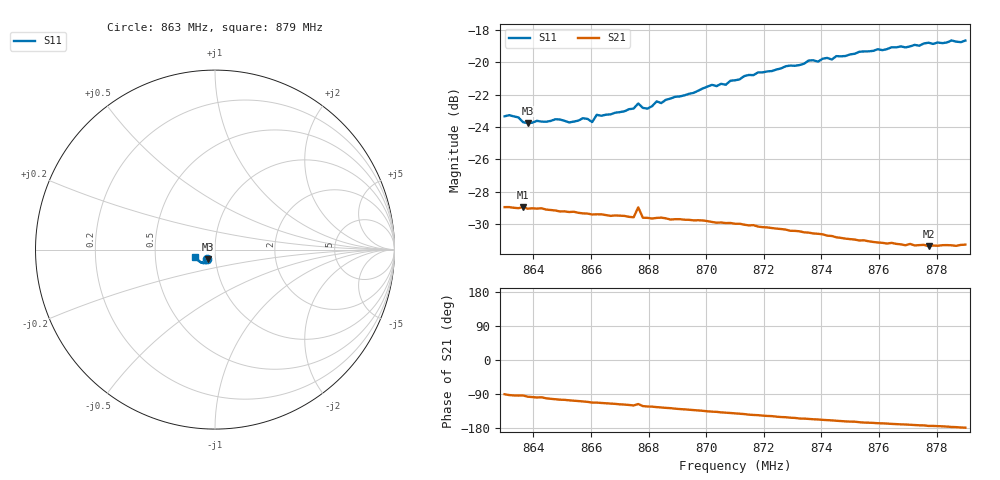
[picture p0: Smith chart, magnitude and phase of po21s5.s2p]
# HZ S RI R 50
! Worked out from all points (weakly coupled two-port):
!   101 points, 863 MHz to 879 MHz, reference 50 ohm
!   highest |S21| = -28.95 dB at 863.64 MHz (marker M1); lowest = -31.4 dB at 877.72 MHz (marker M2)
!   lowest |S11| = -23.8 dB at 863.8 MHz (marker M3), VSWR 1.14, Z = 46.2 - j4.95 ohm
!   |S11| at or under -10 dB: start of sweep to end of sweep
!   S12 and S22 are empty: the file has one direction only
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8.63e8  -0.0425 -0.0533  -0.000247 -0.0357  0 0  0 0
8.6348e8  -0.0413 -0.0535  -0.00235 -0.0353  0 0  0 0
8.6364e8  -0.0386 -0.0527  -0.00224 -0.0356  0 0  0 0
8.638e8  -0.0369 -0.0534  -0.00415 -0.035  0 0  0 0
8.6476e8  -0.0379 -0.0549  -0.00816 -0.0339  0 0  0 0
8.6524e8  -0.0356 -0.0546  -0.00976 -0.033  0 0  0 0
8.6572e8  -0.0341 -0.0579  -0.0113 -0.0322  0 0  0 0
8.6604e8  -0.0334 -0.0562  -0.0129 -0.0313  0 0  0 0
8.662e8  -0.0358 -0.0588  -0.0129 -0.0314  0 0  0 0
8.6748e8  -0.0337 -0.0636  -0.0166 -0.0287  0 0  0 0
8.6764e8  -0.0279 -0.0692  -0.0157 -0.032  0 0  0 0
8.678e8  -0.0349 -0.0634  -0.0173 -0.0282  0 0  0 0
8.6796e8  -0.0339 -0.0634  -0.0179 -0.0278  0 0  0 0
8.6828e8  -0.036 -0.0666  -0.0187 -0.0273  0 0  0 0
8.6844e8  -0.0356 -0.0659  -0.0191 -0.027  0 0  0 0
8.702e8  -0.0435 -0.0733  -0.0232 -0.0222  0 0  0 0
8.7068e8  -0.0444 -0.0728  -0.024 -0.0209  0 0  0 0
8.71e8  -0.0474 -0.0742  -0.0246 -0.02  0 0  0 0
8.7372e8  -0.0684 -0.075  -0.0271 -0.0118  0 0  0 0
8.7644e8  -0.0921 -0.0627  -0.0271 -0.00548  0 0  0 0
8.7772e8  -0.1022 -0.0528  -0.0269 -0.00284  0 0  0 0
8.79e8  -0.1098 -0.0399  -0.0273 -0.000628  0 0  0 0
